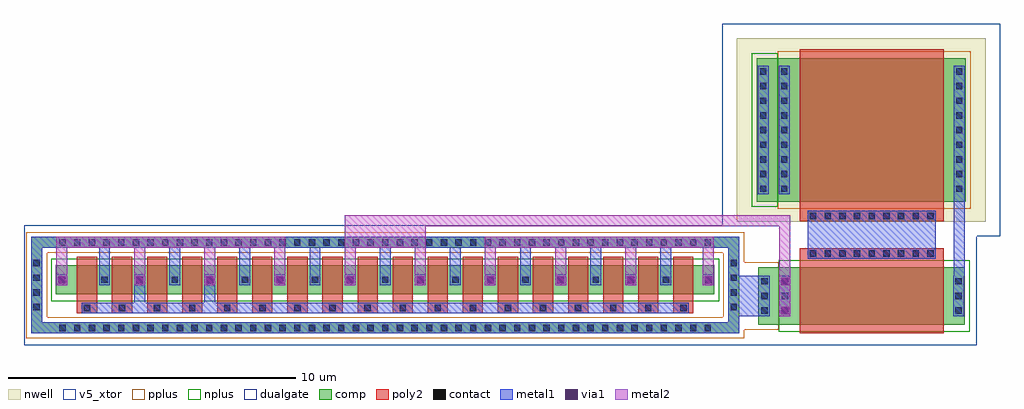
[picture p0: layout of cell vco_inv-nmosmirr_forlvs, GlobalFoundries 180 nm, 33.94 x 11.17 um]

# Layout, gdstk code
from math import pi, radians
import gdstk
lib = gdstk.Library(unit=1e-6, precision=5e-09)
def R(c, l, rs):  # rectangles x0, y0, x1, y1
    for r in rs: c.add(gdstk.rectangle(r[:2], r[2:], *l))
def A(c, l, x, y, w, h, nx, ny, dx, dy):  # array of equal rectangles
    R(c, l, [(x+i*dx, y+j*dy, x+i*dx+w, y+j*dy+h) for i in range(nx) for j in range(ny)])
def P(c, l, *ps):  # polygons
    for p in ps: c.add(gdstk.Polygon(p, *l))
nwell = (21, 0)
comp = (22, 0)
poly2 = (30, 0)
pplus = (31, 0)
nplus = (32, 0)
contact = (33, 0)
metal1 = (34, 0)
via1 = (35, 0)
metal2 = (36, 0)
dualgate = (55, 0)
v5_xtor = (112, 1)

nfet_2 = lib.new_cell('nfet$2')
R(nfet_2, comp, [(-20.89,21.315,-20.47,22.315), (-20.47,21.315,1.59,22.315), (1.59,21.315,2.01,22.315)])
P(nfet_2, comp, [(-21.75,19.955),(-21.75,22.925),(-21.37,22.925),(-21.37,20.335),(2.49,20.335),(2.49,22.925),(-21.75,22.925),(-21.75,23.305),(2.87,23.305),(2.87,19.955)])
A(nfet_2, poly2, -20.16, 20.655, 0.7, 0.36, 18, 1, 1.22, 0)
A(nfet_2, poly2, -20.16, 21.015, 0.7, 1.6, 18, 1, 1.22, 0)
P(nfet_2, pplus, [(-21.92,19.785),(-21.92,22.755),(-21.2,22.755),(-21.2,20.505),(2.32,20.505),(2.32,22.755),(-21.92,22.755),(-21.92,23.475),(3.04,23.475),(3.04,19.785)])
R(nfet_2, nplus, [(-21.06,21.075,2.18,22.555)])
A(nfet_2, contact, -20.77, 20.035, 0.22, 0.22, 45, 2, 0.51, 2.97)
A(nfet_2, contact, -19.92, 20.725, 0.22, 0.22, 18, 1, 1.22, 0)
A(nfet_2, contact, -21.67, 20.755, 0.22, 0.22, 1, 4, 0, 0.51)
A(nfet_2, contact, 2.57, 20.755, 0.22, 0.22, 1, 4, 0, 0.51)
A(nfet_2, contact, -19.31, 21.705, 0.22, 0.22, 17, 1, 1.22, 0)
R(nfet_2, contact, [(-20.79,21.705,-20.57,21.925), (1.69,21.705,1.91,21.925)])
A(nfet_2, metal1, -20, 20.645, 0.38, 0.38, 18, 1, 1.22, 0)
A(nfet_2, metal1, -19.39, 21.625, 0.38, 0.38, 17, 1, 1.22, 0)
R(nfet_2, metal1, [(-20.87,21.625,-20.49,22.005), (1.61,21.625,1.99,22.005)])
R(nfet_2, dualgate, [(-22,19.545,3.12,23.715), (-22,19.705,3.12,23.555)])
R(nfet_2, v5_xtor, [(-22,19.545,3.12,23.715), (-22,19.705,3.12,23.555)])

vco_nmosmirr_forlvs_1 = lib.new_cell('vco_nmosmirr_forlvs$1')
A(vco_nmosmirr_forlvs_1, metal1, -19.805, 21.515, 0.38, 1.3, 9, 1, 2.44, 0)
R(vco_nmosmirr_forlvs_1, metal1, [(-22.165,19.845,2.455,20.225), (-22.165,20.225,-21.785,22.815), (2.075,20.225,2.455,22.815), (-20.415,20.535,0.705,20.915), (-18.585,20.535,-18.205,21.835), (-16.145,20.535,-15.765,21.835), (-22.165,22.815,2.455,23.195)])
A(vco_nmosmirr_forlvs_1, via1, -18.525, 21.575, 0.26, 0.26, 8, 1, 2.44, 0)
R(vco_nmosmirr_forlvs_1, via1, [(-21.225,21.575,-20.965,21.835), (1.255,21.575,1.515,21.835)])
A(vco_nmosmirr_forlvs_1, metal2, -18.585, 21.515, 0.38, 1.68, 8, 1, 2.44, 0)
R(vco_nmosmirr_forlvs_1, metal2, [(-21.285,21.515,-20.905,23.195), (1.195,21.515,1.575,23.195), (-21.285,22.815,-13.325,23.195), (-11.265,22.815,-8.445,23.195), (-6.385,22.815,1.575,23.195)])
vco_nmosmirr_forlvs_1.add(gdstk.Reference(nfet_2, (-0.415,-0.11)))
vco_nmosmirr_forlvs_1.add(gdstk.Label('VSS', (-21.89,22.945), layer=34, texttype=10))
vco_nmosmirr_forlvs_1.add(gdstk.Label('VDD1', (-17.475,22.955), layer=42, texttype=10))
vco_nmosmirr_forlvs_1.add(gdstk.Label('VDD2', (-2.52,22.99), layer=42, texttype=10))

pfet_1_1 = lib.new_cell('pfet$1$1')

pfet_2 = lib.new_cell('pfet$2')

pfet_3_1 = lib.new_cell('pfet$3$1')
R(pfet_3_1, nwell, [(-1.15,-0.69,7.5,5.69)])
R(pfet_3_1, comp, [(-0.46,0,0,5), (0,0,5.62,5), (5.62,0,6.08,5), (6.08,0,6.81,5)])
R(pfet_3_1, poly2, [(0.31,-0.3,5.31,5.3), (0.31,5.3,5.31,5.68)])
R(pfet_3_1, pplus, [(-0.63,-0.24,6.08,5.24)])
R(pfet_3_1, nplus, [(6.08,-0.17,6.98,5.17)])
A(pfet_3_1, contact, -0.34, 0.35, 0.22, 0.22, 1, 9, 0, 0.51)
A(pfet_3_1, contact, 5.74, 0.35, 0.22, 0.22, 1, 9, 0, 0.51)
A(pfet_3_1, contact, 6.47, 0.35, 0.22, 0.22, 1, 9, 0, 0.51)
A(pfet_3_1, contact, 0.66, 5.38, 0.22, 0.22, 9, 1, 0.51, 0)
R(pfet_3_1, metal1, [(-0.42,0.27,-0.04,4.73), (5.66,0.27,6.04,4.73), (6.39,0.27,6.77,4.73), (0.58,5.3,5.04,5.68)])
R(pfet_3_1, dualgate, [(-1.65,-1.19,8,6.19)])
R(pfet_3_1, v5_xtor, [(-1.65,-1.19,8,6.19)])

nfet_1_1 = lib.new_cell('nfet$1$1')
R(nfet_1_1, comp, [(-0.42,0,0,2), (0,0,5.62,2), (5.62,0,6.04,2), (6.04,0,6.75,2)])
R(nfet_1_1, poly2, [(0.31,-0.3,5.31,2.3), (0.31,2.3,5.31,2.66)])
R(nfet_1_1, pplus, [(6.04,-0.17,6.92,2.17)])
R(nfet_1_1, nplus, [(-0.59,-0.24,6.04,2.24)])
A(nfet_1_1, contact, -0.32, 0.38, 0.22, 0.22, 1, 3, 0, 0.51)
A(nfet_1_1, contact, 5.72, 0.38, 0.22, 0.22, 1, 3, 0, 0.51)
A(nfet_1_1, contact, 6.43, 0.38, 0.22, 0.22, 1, 3, 0, 0.51)
A(nfet_1_1, contact, 0.66, 2.37, 0.22, 0.22, 9, 1, 0.51, 0)
R(nfet_1_1, metal1, [(-0.4,0.3,-0.02,1.7), (5.64,0.3,6.02,1.7), (6.35,0.3,6.73,1.7), (0.58,2.29,5.04,2.67)])
R(nfet_1_1, dualgate, [(-0.84,-0.71,7.17,3.08)])
R(nfet_1_1, v5_xtor, [(-0.84,-0.71,7.17,3.08)])

vco_inv_forlvs_1 = lib.new_cell('vco_inv_forlvs$1')
R(vco_inv_forlvs_1, metal1, [(9.915,-3.155,10.295,-0.315), (4.835,-2.185,9.295,-1.265)])
vco_inv_forlvs_1.add(gdstk.Reference(pfet_1_1, (8.54,2.73), rotation=pi))
vco_inv_forlvs_1.add(gdstk.Reference(pfet_1_1, (6.875,1.175), rotation=pi))
vco_inv_forlvs_1.add(gdstk.Reference(pfet_2, (7.49,0.665), rotation=pi))
vco_inv_forlvs_1.add(gdstk.Reference(pfet_2, (7.265,0.74), rotation=pi))
vco_inv_forlvs_1.add(gdstk.Reference(pfet_3_1, (9.875,4.415), rotation=pi))
vco_inv_forlvs_1.add(gdstk.Reference(nfet_1_1, (9.875,-4.855), rotation=pi, x_reflection=True))
vco_inv_forlvs_1.add(gdstk.Label('VBP', (3.245,1.89), layer=34, texttype=10))
vco_inv_forlvs_1.add(gdstk.Label('VDD', (3.995,1.9), layer=34, texttype=10))
vco_inv_forlvs_1.add(gdstk.Label('VIN', (7.075,-1.615), layer=34, texttype=10))
vco_inv_forlvs_1.add(gdstk.Label('VOUT', (10.105,-1.785), layer=34, texttype=10))

nfet = lib.new_cell('nfet')

vco_nmosmirr_forlvs = lib.new_cell('vco_nmosmirr_forlvs')
vco_nmosmirr_forlvs.add(gdstk.Reference(nfet, (-0.415,-0.11)))

pfet_1 = lib.new_cell('pfet$1')

pfet = lib.new_cell('pfet')

pfet_3 = lib.new_cell('pfet$3')

nfet_1 = lib.new_cell('nfet$1')

vco_inv_forlvs = lib.new_cell('vco_inv_forlvs')
vco_inv_forlvs.add(gdstk.Reference(pfet_1, (8.54,2.73), rotation=pi))
vco_inv_forlvs.add(gdstk.Reference(pfet_1, (6.875,1.175), rotation=pi))
vco_inv_forlvs.add(gdstk.Reference(pfet, (7.49,0.665), rotation=pi))
vco_inv_forlvs.add(gdstk.Reference(pfet, (7.265,0.74), rotation=pi))
vco_inv_forlvs.add(gdstk.Reference(pfet_3, (9.875,4.415), rotation=pi))
vco_inv_forlvs.add(gdstk.Reference(nfet_1, (9.875,-4.855), rotation=pi, x_reflection=True))

vco_inv_nmosmirr_forlvs = lib.new_cell('vco_inv-nmosmirr_forlvs')
R(vco_inv_nmosmirr_forlvs, pplus, [(52.625,44.975,52.955,47.315)])
R(vco_inv_nmosmirr_forlvs, metal1, [(52.455,45.445,53.145,46.845)])
R(vco_inv_nmosmirr_forlvs, via1, [(53.915,45.505,54.175,45.765), (53.915,46.525,54.175,46.785)])
R(vco_inv_nmosmirr_forlvs, metal2, [(53.855,45.445,54.235,48.955), (38.735,48.195,41.555,48.575), (38.735,48.575,54.235,48.955)])
vco_inv_nmosmirr_forlvs.add(gdstk.Reference(vco_nmosmirr_forlvs_1, (50,25)))
vco_inv_nmosmirr_forlvs.add(gdstk.Reference(vco_inv_forlvs_1, (50,50)))
vco_inv_nmosmirr_forlvs.add(gdstk.Reference(vco_nmosmirr_forlvs, (50,25)))
vco_inv_nmosmirr_forlvs.add(gdstk.Reference(vco_inv_forlvs, (50,50)))

lib.write_gds('vco_inv-nmosmirr_forlvs.gds')
